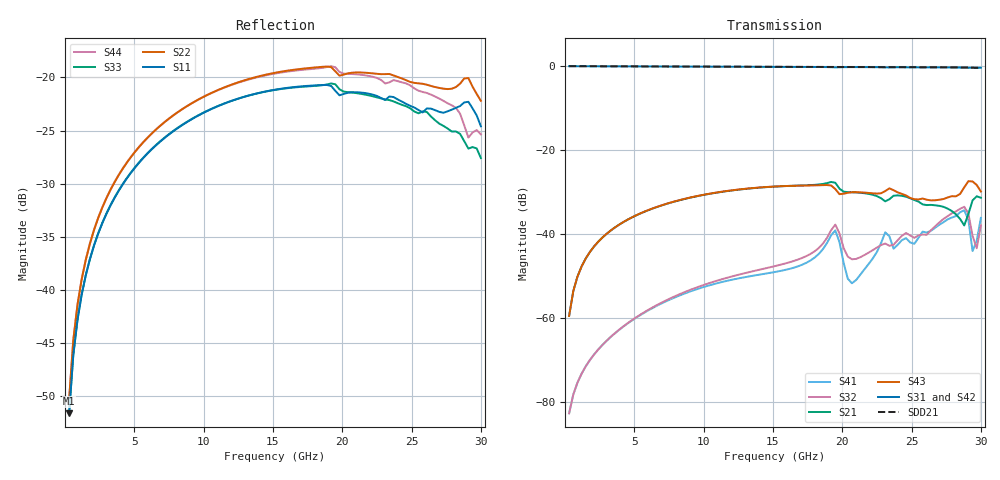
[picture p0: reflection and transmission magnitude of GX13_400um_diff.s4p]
! Created Thu Apr 22 11:04:58 2021
! List of port names and net name(s): example Port n = <port_name> <net_name1> <net_name2> ...
! Port 1 = P1 P3 gnd!
! Port 2 = P2 N__0 gnd!
! Port 3 = P3 P3 P7
! Port 4 = P4 N__0 P8
# hz S ri R 50
! 4 Port Network Data from data block
! freq  reS11  imS11  reS12  imS12  reS13  imS13  reS14  imS14
!  reS21  imS21  reS22  imS22  reS23  imS23  reS24  imS24
!  reS31  imS31  reS32  imS32  reS33  imS33  reS34  imS34
!  reS41  imS41  reS42  imS42  reS43  imS43  reS44  imS44
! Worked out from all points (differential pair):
!   100 points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, 300 MHz to 30 GHz, reference 50 ohm
!   strongest paths, dB at 300 MHz, 7.8 GHz, 15.3 GHz, 22.8 GHz, 30 GHz:
!     S31: 0.0, -0.1, -0.2, -0.3, -0.4
!     S42: 0.0, -0.1, -0.2, -0.3, -0.4
!     S43: -59.4, -32.3, -28.6, -30.3, -29.8
!     S21: -59.4, -32.3, -28.6, -31.5, -31.3
!     S32: -82.6, -55.0, -47.5, -42.6, -37.9
!     S41: -82.6, -55.2, -48.9, -42.1, -36.1
!   taken as a pair (ports 1,2 in; 3,4 out), SDD21 dB: 0.0, -0.1, -0.2, -0.2, -0.4
!   lowest |S11| = -51.6 dB at 300 MHz (marker M1), VSWR 1.01, Z = 50.1 + j0.256 ohm
!   |S11| at or under -10 dB: start of sweep to end of sweep
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3e8  0.000576 0.00256  8.58e-05 0.00106  0.9988 -0.026  -3.77e-05 -6.35e-05
     8.58e-05 0.00106  0.000589 0.00299  -3.75e-05 -6.35e-05  0.9988 -0.0262
     0.9988 -0.026  -3.75e-05 -6.35e-05  0.000583 0.00256  6.9e-05 0.00106
     -3.77e-05 -6.35e-05  0.9988 -0.0262  6.9e-05 0.00106  0.000605 0.003
2.4e9  0.00417 0.0179  0.00232 0.00778  0.9759 -0.2002  -0.000297 -0.000302
       0.00232 0.00778  0.00464 0.0213  -0.000291 -0.000308  0.9755 -0.2018
       0.9759 -0.2002  -0.000291 -0.000308  0.0047 0.0179  0.00134 0.00802
       -0.000297 -0.000302  0.9755 -0.2018  0.00134 0.00802  0.00572 0.0211
8.7e9  0.037 0.0486  0.0218 0.0149  0.739 -0.6561  -0.00193 0.000451
       0.0218 0.0149  0.0423 0.0589  -0.00204 0.000339  0.7349 -0.6595
       0.739 -0.6561  -0.00204 0.000339  0.0427 0.0439  0.0131 0.023
       -0.00193 0.000451  0.7349 -0.6595  0.0131 0.023  0.0529 0.0497
1.95e10  0.0859 0.00995  0.0261 -0.0316  -0.0562 -0.9665  -0.00292 0.0107
         0.0261 -0.0316  0.1052 0.0186  -0.00499 0.012  -0.0649 -0.9628
         -0.0562 -0.9665  -0.00499 0.012  0.0892 -0.0259  0.0324 0.0116
         -0.00292 0.0107  -0.0649 -0.9628  0.0324 0.0116  0.1038 -0.041
2.07e10  0.0842 0.013  0.0188 -0.0253  -0.1514 -0.9621  -0.000969 0.00242
         0.0188 -0.0253  0.1029 0.0218  -0.00132 0.00485  -0.1599 -0.9586
         -0.1514 -0.9621  -0.00132 0.00485  0.079 -0.0309  0.0268 0.0166
         -0.000969 0.00242  -0.1599 -0.9586  0.0268 0.0166  0.0927 -0.0466
2.31e10  0.078 0.00566  0.00825 -0.0232  -0.3455 -0.9047  -0.00874 0.00583
         0.00825 -0.0232  0.103 0.0112  -0.00426 0.00646  -0.3537 -0.8985
         -0.3455 -0.9047  -0.00426 0.00646  0.0635 -0.0466  0.0252 0.0206
         -0.00874 0.00583  -0.3537 -0.8985  0.0252 0.0206  0.069 -0.0633
3e10  0.0585 -0.00657  -0.0271 -0.000144  -0.7791 -0.5543  -0.0134 0.00808
      -0.0271 -0.000144  0.077 -0.00934  -0.00912 0.00886  -0.7851 -0.5457
      -0.7791 -0.5543  -0.00912 0.00886  -0.0185 -0.0374  0.0215 0.0239
      -0.0134 0.00808  -0.7851 -0.5457  0.0215 0.0239  -0.0161 -0.0515
